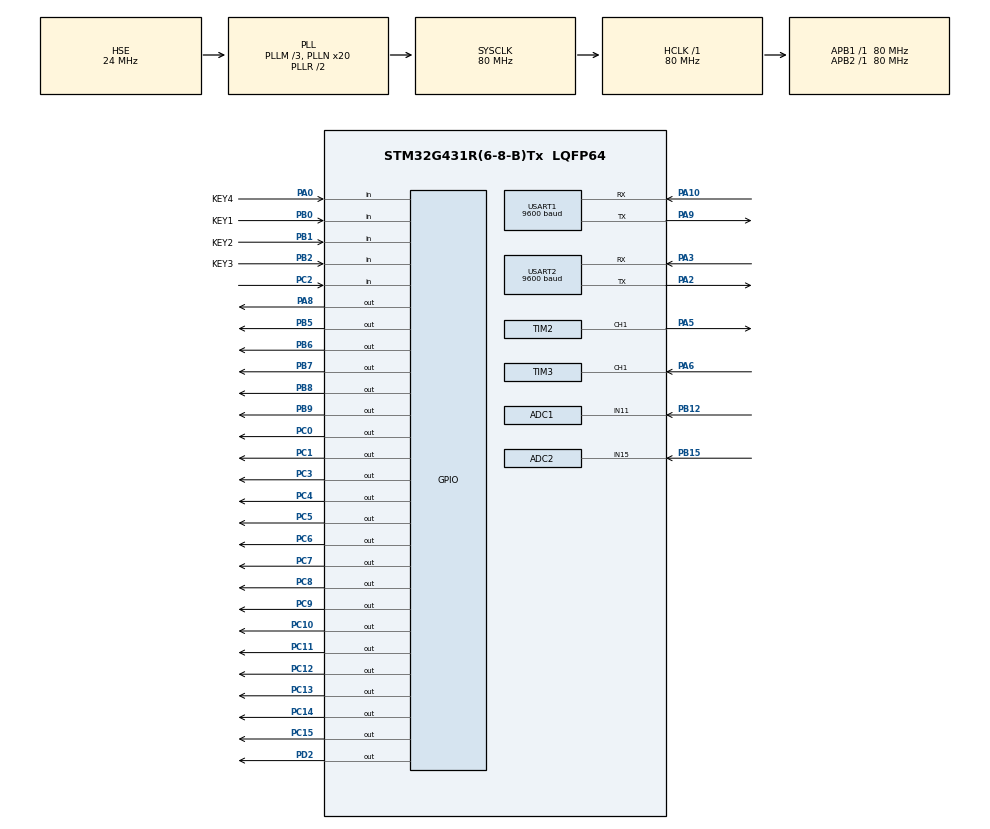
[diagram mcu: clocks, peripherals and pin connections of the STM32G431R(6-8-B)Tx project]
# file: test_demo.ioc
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ADC1.Channel-0\#ChannelRegularConversion=ADC_CHANNEL_11
ADC1.ClockPrescaler=ADC_CLOCK_SYNC_PCLK_DIV4
ADC1.ContinuousConvMode=ENABLE
ADC1.DMAContinuousRequests=ENABLE
ADC1.NbrOfConversion=1
ADC1.NbrOfConversionFlag=1
ADC1.OffsetNumber-0\#ChannelRegularConversion=ADC_OFFSET_NONE
ADC1.Rank-0\#ChannelRegularConversion=1
ADC1.SamplingTime-0\#ChannelRegularConversion=ADC_SAMPLETIME_2CYCLES_5
ADC1.master=1
ADC2.Channel-0\#ChannelRegularConversion=ADC_CHANNEL_15
ADC2.ClockPrescaler=ADC_CLOCK_SYNC_PCLK_DIV4
ADC2.ContinuousConvMode=ENABLE
ADC2.DMAContinuousRequests=ENABLE
ADC2.NbrOfConversionFlag=1
ADC2.OffsetNumber-0\#ChannelRegularConversion=ADC_OFFSET_NONE
ADC2.Rank-0\#ChannelRegularConversion=1
ADC2.SamplingTime-0\#ChannelRegularConversion=ADC_SAMPLETIME_2CYCLES_5
Dma.ADC1.1.Direction=DMA_PERIPH_TO_MEMORY
Dma.ADC1.1.EventEnable=DISABLE
Dma.ADC1.1.Instance=DMA1_Channel2
Dma.ADC1.1.MemDataAlignment=DMA_MDATAALIGN_WORD
Dma.ADC1.1.MemInc=DMA_MINC_ENABLE
Dma.ADC1.1.Mode=DMA_CIRCULAR
Dma.ADC1.1.PeriphDataAlignment=DMA_PDATAALIGN_WORD
Dma.ADC1.1.PeriphInc=DMA_PINC_DISABLE
Dma.ADC1.1.Polarity=HAL_DMAMUX_REQ_GEN_RISING
Dma.ADC1.1.Priority=DMA_PRIORITY_MEDIUM
Dma.ADC1.1.RequestNumber=1
Dma.ADC1.1.SignalID=NONE
Dma.ADC1.1.SyncEnable=DISABLE
Dma.ADC1.1.SyncPolarity=HAL_DMAMUX_SYNC_NO_EVENT
Dma.ADC1.1.SyncRequestNumber=1
Dma.ADC1.1.SyncSignalID=NONE
Dma.ADC2.2.Direction=DMA_PERIPH_TO_MEMORY
Dma.ADC2.2.EventEnable=DISABLE
Dma.ADC2.2.Instance=DMA1_Channel3
Dma.ADC2.2.MemDataAlignment=DMA_MDATAALIGN_WORD
Dma.ADC2.2.MemInc=DMA_MINC_ENABLE
Dma.ADC2.2.Mode=DMA_CIRCULAR
Dma.ADC2.2.PeriphDataAlignment=DMA_PDATAALIGN_WORD
Dma.ADC2.2.PeriphInc=DMA_PINC_DISABLE
Dma.ADC2.2.Polarity=HAL_DMAMUX_REQ_GEN_RISING
Dma.ADC2.2.Priority=DMA_PRIORITY_MEDIUM
Dma.ADC2.2.RequestNumber=1
Dma.ADC2.2.SignalID=NONE
Dma.ADC2.2.SyncEnable=DISABLE
Dma.ADC2.2.SyncPolarity=HAL_DMAMUX_SYNC_NO_EVENT
Dma.ADC2.2.SyncRequestNumber=1
Dma.ADC2.2.SyncSignalID=NONE
Dma.Request0=USART1_RX
Dma.Request1=ADC1
Dma.Request2=ADC2
Dma.Request3=USART2_RX
Dma.Request4=TIM2_CH1
Dma.Request5=TIM3_CH1
Dma.TIM2_CH1.4.Direction=DMA_PERIPH_TO_MEMORY
Dma.TIM2_CH1.4.EventEnable=DISABLE
Dma.TIM2_CH1.4.Instance=DMA1_Channel5
Dma.TIM2_CH1.4.MemDataAlignment=DMA_MDATAALIGN_WORD
Dma.TIM2_CH1.4.MemInc=DMA_MINC_ENABLE
Dma.TIM2_CH1.4.Mode=DMA_CIRCULAR
Dma.TIM2_CH1.4.PeriphDataAlignment=DMA_PDATAALIGN_WORD
Dma.TIM2_CH1.4.PeriphInc=DMA_PINC_DISABLE
Dma.TIM2_CH1.4.Polarity=HAL_DMAMUX_REQ_GEN_RISING
Dma.TIM2_CH1.4.Priority=DMA_PRIORITY_LOW
Dma.TIM2_CH1.4.RequestNumber=1
Dma.TIM2_CH1.4.SignalID=NONE
Dma.TIM2_CH1.4.SyncEnable=DISABLE
Dma.TIM2_CH1.4.SyncPolarity=HAL_DMAMUX_SYNC_NO_EVENT
Dma.TIM2_CH1.4.SyncRequestNumber=1
Dma.TIM2_CH1.4.SyncSignalID=NONE
Dma.TIM3_CH1.5.Direction=DMA_PERIPH_TO_MEMORY
Dma.TIM3_CH1.5.EventEnable=DISABLE
Dma.TIM3_CH1.5.Instance=DMA1_Channel6
Dma.TIM3_CH1.5.MemDataAlignment=DMA_MDATAALIGN_WORD
Dma.TIM3_CH1.5.MemInc=DMA_MINC_ENABLE
Dma.TIM3_CH1.5.Mode=DMA_CIRCULAR
Dma.TIM3_CH1.5.PeriphDataAlignment=DMA_PDATAALIGN_WORD
Dma.TIM3_CH1.5.PeriphInc=DMA_PINC_DISABLE
Dma.TIM3_CH1.5.Polarity=HAL_DMAMUX_REQ_GEN_RISING
Dma.TIM3_CH1.5.Priority=DMA_PRIORITY_MEDIUM
Dma.TIM3_CH1.5.RequestNumber=1
Dma.TIM3_CH1.5.SignalID=NONE
Dma.TIM3_CH1.5.SyncEnable=DISABLE
Dma.TIM3_CH1.5.SyncPolarity=HAL_DMAMUX_SYNC_NO_EVENT
Dma.TIM3_CH1.5.SyncRequestNumber=1
Dma.TIM3_CH1.5.SyncSignalID=NONE
Dma.USART1_RX.0.Direction=DMA_PERIPH_TO_MEMORY
Dma.USART1_RX.0.EventEnable=DISABLE
Dma.USART1_RX.0.Instance=DMA1_Channel1
Dma.USART1_RX.0.MemDataAlignment=DMA_MDATAALIGN_BYTE
Dma.USART1_RX.0.MemInc=DMA_MINC_ENABLE
Dma.USART1_RX.0.Mode=DMA_NORMAL
Dma.USART1_RX.0.PeriphDataAlignment=DMA_PDATAALIGN_BYTE
Dma.USART1_RX.0.PeriphInc=DMA_PINC_DISABLE
Dma.USART1_RX.0.Polarity=HAL_DMAMUX_REQ_GEN_RISING
Dma.USART1_RX.0.Priority=DMA_PRIORITY_HIGH
Dma.USART1_RX.0.RequestNumber=1
Dma.USART1_RX.0.SignalID=NONE
Dma.USART1_RX.0.SyncEnable=DISABLE
Dma.USART1_RX.0.SyncPolarity=HAL_DMAMUX_SYNC_NO_EVENT
Dma.USART1_RX.0.SyncRequestNumber=1
Dma.USART1_RX.0.SyncSignalID=NONE
Dma.USART2_RX.3.Direction=DMA_PERIPH_TO_MEMORY
Dma.USART2_RX.3.EventEnable=DISABLE
Dma.USART2_RX.3.Instance=DMA1_Channel4
Dma.USART2_RX.3.MemDataAlignment=DMA_MDATAALIGN_BYTE
Dma.USART2_RX.3.MemInc=DMA_MINC_ENABLE
Dma.USART2_RX.3.Mode=DMA_NORMAL
Dma.USART2_RX.3.PeriphDataAlignment=DMA_PDATAALIGN_BYTE
Dma.USART2_RX.3.PeriphInc=DMA_PINC_DISABLE
Dma.USART2_RX.3.Polarity=HAL_DMAMUX_REQ_GEN_RISING
Dma.USART2_RX.3.Priority=DMA_PRIORITY_HIGH
Dma.USART2_RX.3.RequestNumber=1
Dma.USART2_RX.3.SignalID=NONE
Dma.USART2_RX.3.SyncEnable=DISABLE
Dma.USART2_RX.3.SyncPolarity=HAL_DMAMUX_SYNC_NO_EVENT
Dma.USART2_RX.3.SyncRequestNumber=1
Dma.USART2_RX.3.SyncSignalID=NONE
Mcu.Family=STM32G4
Mcu.Name=STM32G431R(6-8-B)Tx
Mcu.Package=LQFP64
NVIC.ADC1_2_IRQn=true\:2\:0\:true\:false\:true\:true\:true\:true
NVIC.DMA1_Channel1_IRQn=true\:0\:0\:false\:false\:true\:false\:true\:true
NVIC.DMA1_Channel2_IRQn=true\:0\:0\:false\:false\:true\:false\:true\:true
NVIC.DMA1_Channel3_IRQn=true\:0\:0\:false\:false\:true\:false\:true\:true
NVIC.DMA1_Channel4_IRQn=true\:0\:0\:false\:false\:true\:false\:true\:true
NVIC.DMA1_Channel5_IRQn=true\:0\:0\:false\:false\:true\:false\:true\:true
NVIC.DMA1_Channel6_IRQn=true\:0\:0\:false\:false\:true\:false\:true\:true
NVIC.PriorityGroup=NVIC_PRIORITYGROUP_4
NVIC.TIM2_IRQn=true\:0\:0\:false\:false\:true\:true\:true\:true
NVIC.TIM3_IRQn=true\:0\:0\:false\:false\:true\:true\:true\:true
NVIC.USART1_IRQn=true\:0\:0\:false\:false\:true\:true\:true\:true
NVIC.USART2_IRQn=true\:0\:0\:false\:false\:true\:true\:true\:true
PA0.GPIO_Label=KEY4
PA0.GPIO_PuPd=GPIO_PULLUP
PA0.Signal=GPIO_Input
PA10.Mode=Asynchronous
PA10.Signal=USART1_RX
PA13.Mode=Serial_Wire
PA13.Signal=SYS_JTMS-SWDIO
PA14.Mode=Serial_Wire
PA14.Signal=SYS_JTCK-SWCLK
PA2.Mode=Asynchronous
PA2.Signal=USART2_TX
PA3.Mode=Asynchronous
PA3.Signal=USART2_RX
PA5.Signal=S_TIM2_CH1
PA6.Signal=S_TIM3_CH1
PA8.Signal=GPIO_Output
PA9.Mode=Asynchronous
PA9.Signal=USART1_TX
PB0.GPIO_Label=KEY1
PB0.GPIO_PuPd=GPIO_PULLUP
PB0.Signal=GPIO_Input
PB1.GPIO_Label=KEY2
PB1.GPIO_PuPd=GPIO_PULLUP
PB1.Signal=GPIO_Input
PB12.Mode=IN11-Single-Ended
PB12.Signal=ADC1_IN11
PB15.Mode=IN15-Single-Ended
PB15.Signal=ADC2_IN15
PB2.GPIO_Label=KEY3
PB2.GPIO_PuPd=GPIO_PULLUP
PB2.Signal=GPIO_Input
PB5.Signal=GPIO_Output
PB6.GPIO_Speed=GPIO_SPEED_FREQ_VERY_HIGH
PB6.Signal=GPIO_Output
PB7.GPIO_Speed=GPIO_SPEED_FREQ_VERY_HIGH
PB7.Signal=GPIO_Output
PB8-BOOT0.Signal=GPIO_Output
PB9.Signal=GPIO_Output
PC0.Signal=GPIO_Output
PC1.Signal=GPIO_Output
PC10.PinState=GPIO_PIN_SET
PC10.Signal=GPIO_Output
PC11.PinState=GPIO_PIN_SET
PC11.Signal=GPIO_Output
PC12.PinState=GPIO_PIN_SET
PC12.Signal=GPIO_Output
PC13.PinState=GPIO_PIN_SET
PC13.Signal=GPIO_Output
PC14-OSC32_IN.PinState=GPIO_PIN_SET
PC14-OSC32_IN.Signal=GPIO_Output
PC15-OSC32_OUT.PinState=GPIO_PIN_SET
PC15-OSC32_OUT.Signal=GPIO_Output
PC2.Signal=GPIO_Input
PC3.Signal=GPIO_Output
PC4.Signal=GPIO_Output
PC5.Signal=GPIO_Output
PC6.Signal=GPIO_Output
PC7.Signal=GPIO_Output
PC8.PinState=GPIO_PIN_SET
PC8.Signal=GPIO_Output
PC9.PinState=GPIO_PIN_SET
PC9.Signal=GPIO_Output
PD2.Signal=GPIO_Output
PF0-OSC_IN.Mode=HSE-External-Oscillator
PF0-OSC_IN.Signal=RCC_OSC_IN
PF1-OSC_OUT.Mode=HSE-External-Oscillator
PF1-OSC_OUT.Signal=RCC_OSC_OUT
ProjectManager.HeapSize=0x200
ProjectManager.StackSize=0x400
ProjectManager.TargetToolchain=MDK-ARM V5.32
RCC.ADC12Freq_Value=80000000
RCC.AHBFreq_Value=80000000
RCC.APB1Freq_Value=80000000
RCC.APB1TimFreq_Value=80000000
RCC.APB2Freq_Value=80000000
RCC.APB2TimFreq_Value=80000000
RCC.CortexFreq_Value=80000000
RCC.EXTERNAL_CLOCK_VALUE=12288000
RCC.HCLKFreq_Value=80000000
RCC.HSE_VALUE=24000000
RCC.HSI48_VALUE=48000000
RCC.HSI_VALUE=16000000
RCC.LSE_VALUE=32768
RCC.PLLM=RCC_PLLM_DIV3
RCC.PLLN=20
RCC.PLLSourceVirtual=RCC_PLLSOURCE_HSE
RCC.RTCClockSelection=RCC_RTCCLKSOURCE_HSE_DIV32
RCC.SYSCLKFreq_VALUE=80000000
RCC.SYSCLKSource=RCC_SYSCLKSOURCE_PLLCLK
RCC.USBFreq_Value=80000000
RCC.VCOOutputFreq_Value=160000000
RTC.AsynchPrediv=125
RTC.Hours=23
RTC.Minutes=59
RTC.Seconds=55
RTC.SynchPrediv=6000
SH.S_TIM2_CH1.0=TIM2_CH1,PWM Generation1 CH1
SH.S_TIM3_CH1.0=TIM3_CH1,Input_Capture1_from_TI1
TIM2.AutoReloadPreload=TIM_AUTORELOAD_PRELOAD_ENABLE
TIM2.Channel-PWM\ Generation1\ CH1=TIM_CHANNEL_1
TIM2.PeriodNoDither=1000-1
TIM2.Prescaler=80-1
TIM2.PulseNoDither_1=50
TIM3.Channel-Input_Capture1_from_TI1=TIM_CHANNEL_1
TIM3.ICFilter_CH1=15
TIM3.PeriodNoDither=65535
TIM3.Prescaler=8000-1
USART1.BaudRate=9600
USART1.VirtualMode-Asynchronous=VM_ASYNC
USART2.BaudRate=9600
USART2.VirtualMode-Asynchronous=VM_ASYNC
VP_RTC_VS_RTC_Activate.Mode=RTC_Enabled
VP_RTC_VS_RTC_Calendar.Mode=RTC_Calendar
VP_SYS_VS_DBSignals.Mode=DisableDeadBatterySignals
VP_TIM2_VS_ClockSourceINT.Mode=Internal
VP_TIM3_VS_ClockSourceINT.Mode=Internal
board=custom

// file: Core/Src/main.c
/* USER CODE BEGIN Header */
/**
  ******************************************************************************
  * @file           : main.c
  * @brief          : Main program body
  ******************************************************************************
  * @attention
  *
  * Copyright (c) 2025 STMicroelectronics.
  * All rights reserved.
  *
  * This software is licensed under terms that can be found in the LICENSE file
  * in the root directory of this software component.
  * If no LICENSE file comes with this software, it is provided AS-IS.
  *
  ******************************************************************************
  */
/* USER CODE END Header */
#include "main.h"
#include "adc.h"
#include "dma.h"
#include "rtc.h"
#include "tim.h"
#include "usart.h"
#include "gpio.h"

/* USER CODE BEGIN Includes */
#include "mydefine.h"
/* USER CODE END Includes */

void SystemClock_Config(void);

int main(void)
{

  /* USER CODE BEGIN 1 */
	system_init();
  /* USER CODE END 1 */

  /* MCU Configuration--------------------------------------------------------*/

  /* Reset of all peripherals, Initializes the Flash interface and the Systick. */
  HAL_Init();

  /* Configure the system clock */
  SystemClock_Config();

  /* Initialize all configured peripherals */
  MX_GPIO_Init();
  MX_DMA_Init();
  MX_USART1_UART_Init();
  MX_ADC1_Init();
  MX_ADC2_Init();
  MX_RTC_Init();
  MX_USART2_UART_Init();
  MX_TIM2_Init();
  MX_TIM3_Init();
  /* USER CODE BEGIN 2 */
  LCD_Init();
  LCD_Clear(Black);
  LCD_SetBackColor(White);
  LCD_SetTextColor(Black);
  system_init();
  ringbuffer_init(&usart_rb);
  ringbuffer_init(&usart2_rb);
  HAL_ADC_Start_DMA(&hadc1,(uint32_t*)&dma_buff[0][0],30);
  HAL_ADC_Start_DMA(&hadc2,(uint32_t*)&dma_buff[1][0],30);
  HAL_TIM_Base_Start_IT(&htim2);
  HAL_TIM_PWM_Start(&htim2, TIM_CHANNEL_1);
  HAL_TIM_IC_Start_IT(&htim3, TIM_CHANNEL_1);
  scheduler_init();
  /* USER CODE END 2 */

  /* Infinite loop */
  while (1)
  {

    /* USER CODE BEGIN 3 */
    scheduler_run();
  }
  /* USER CODE END 3 */
}

void SystemClock_Config(void)
{
  RCC_OscInitTypeDef RCC_OscInitStruct = {0};
  RCC_ClkInitTypeDef RCC_ClkInitStruct = {0};

  /** Configure the main internal regulator output voltage
  */
  HAL_PWREx_ControlVoltageScaling(PWR_REGULATOR_VOLTAGE_SCALE1);

  /** Initializes the RCC Oscillators according to the specified parameters
  * in the RCC_OscInitTypeDef structure.
  */
  RCC_OscInitStruct.OscillatorType = RCC_OSCILLATORTYPE_HSE;
  RCC_OscInitStruct.HSEState = RCC_HSE_ON;
  RCC_OscInitStruct.PLL.PLLState = RCC_PLL_ON;
  RCC_OscInitStruct.PLL.PLLSource = RCC_PLLSOURCE_HSE;
  RCC_OscInitStruct.PLL.PLLM = RCC_PLLM_DIV3;
  RCC_OscInitStruct.PLL.PLLN = 20;
  RCC_OscInitStruct.PLL.PLLP = RCC_PLLP_DIV2;
  RCC_OscInitStruct.PLL.PLLQ = RCC_PLLQ_DIV2;
  RCC_OscInitStruct.PLL.PLLR = RCC_PLLR_DIV2;
  if (HAL_RCC_OscConfig(&RCC_OscInitStruct) != HAL_OK)
  {
    Error_Handler();
  }

  /** Initializes the CPU, AHB and APB buses clocks
  */
  RCC_ClkInitStruct.ClockType = RCC_CLOCKTYPE_HCLK|RCC_CLOCKTYPE_SYSCLK
                              |RCC_CLOCKTYPE_PCLK1|RCC_CLOCKTYPE_PCLK2;
  RCC_ClkInitStruct.SYSCLKSource = RCC_SYSCLKSOURCE_PLLCLK;
  RCC_ClkInitStruct.AHBCLKDivider = RCC_SYSCLK_DIV1;
  RCC_ClkInitStruct.APB1CLKDivider = RCC_HCLK_DIV1;
  RCC_ClkInitStruct.APB2CLKDivider = RCC_HCLK_DIV1;

  if (HAL_RCC_ClockConfig(&RCC_ClkInitStruct, FLASH_LATENCY_2) != HAL_OK)
  {
    Error_Handler();
  }
}

void Error_Handler(void)
{
  __disable_irq();
  while (1)
  {
  }
}
